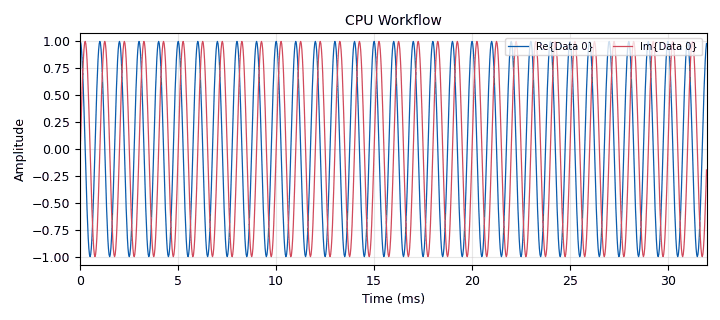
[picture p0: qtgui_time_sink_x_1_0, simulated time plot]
<?xml version='1.0' encoding='utf-8'?>
<?grc format='1' created='3.7.13'?>
<flow_graph>
<block>
<key>options</key>
<param><key>id</key><value>top_block</value></param>
<param><key>generate_options</key><value>qt_gui</value></param>
</block>
<block>
<key>variable</key>
<param><key>id</key><value>samp_rate</value></param>
<param><key>value</key><value>32000</value></param>
</block>
<block>
<key>analog_sig_source_x</key>
<param><key>id</key><value>analog_sig_source_x_0</value></param>
<param><key>amp</key><value>1</value></param>
<param><key>freq</key><value>1000</value></param>
<param><key>offset</key><value>0</value></param>
<param><key>type</key><value>complex</value></param>
<param><key>samp_rate</key><value>samp_rate</value></param>
<param><key>waveform</key><value>analog.GR_COS_WAVE</value></param>
</block>
<block>
<key>analog_sig_source_x</key>
<param><key>id</key><value>analog_sig_source_x_1</value></param>
<param><key>amp</key><value>1</value></param>
<param><key>freq</key><value>1000</value></param>
<param><key>offset</key><value>0</value></param>
<param><key>type</key><value>complex</value></param>
<param><key>samp_rate</key><value>samp_rate</value></param>
<param><key>waveform</key><value>analog.GR_COS_WAVE</value></param>
</block>
<block>
<key>blocks_complex_to_arg</key>
<param><key>id</key><value>blocks_complex_to_arg_0</value></param>
</block>
<block>
<key>blocks_complex_to_arg</key>
<param><key>id</key><value>blocks_complex_to_arg_0_0</value></param>
</block>
<block>
<key>blocks_complex_to_mag</key>
<param><key>id</key><value>blocks_complex_to_mag_0</value></param>
</block>
<block>
<key>blocks_complex_to_mag</key>
<param><key>id</key><value>blocks_complex_to_mag_0_0</value></param>
</block>
<block>
<key>blocks_complex_to_magphase</key>
<param><key>id</key><value>blocks_complex_to_magphase_0</value></param>
</block>
<block>
<key>blocks_complex_to_magphase</key>
<param><key>id</key><value>blocks_complex_to_magphase_0_0</value></param>
</block>
<block>
<key>blocks_ctrlport_monitor_performance</key>
<param><key>id</key><value>blocks_ctrlport_monitor_performance_0</value></param>
<param><key>en</key><value>True</value></param>
</block>
<block>
<key>blocks_magphase_to_complex</key>
<param><key>id</key><value>blocks_magphase_to_complex_0</value></param>
</block>
<block>
<key>blocks_magphase_to_complex</key>
<param><key>id</key><value>blocks_magphase_to_complex_0_0</value></param>
</block>
<block>
<key>blocks_magphase_to_complex</key>
<param><key>id</key><value>blocks_magphase_to_complex_1</value></param>
</block>
<block>
<key>blocks_magphase_to_complex</key>
<param><key>id</key><value>blocks_magphase_to_complex_1_0</value></param>
</block>
<block>
<key>openacc_accComplexToArg</key>
<param><key>id</key><value>openacc_accComplexToArg_0</value></param>
<param><key>contextType</key><value>1</value></param>
<param><key>copy_in</key><value>0</value></param>
<param><key>copy_out</key><value>0</value></param>
<param><key>deviceId</key><value>0</value></param>
<param><key>vlen</key><value>1</value></param>
</block>
<block>
<key>openacc_accComplexToArg</key>
<param><key>id</key><value>openacc_accComplexToArg_0_0</value></param>
<param><key>contextType</key><value>1</value></param>
<param><key>copy_in</key><value>0</value></param>
<param><key>copy_out</key><value>0</value></param>
<param><key>deviceId</key><value>0</value></param>
<param><key>vlen</key><value>1</value></param>
</block>
<block>
<key>openacc_accComplexToMagPhase</key>
<param><key>id</key><value>openacc_accComplexToMagPhase_0</value></param>
<param><key>contextType</key><value>1</value></param>
<param><key>copy_in</key><value>1</value></param>
<param><key>copy_out</key><value>0</value></param>
<param><key>deviceId</key><value>0</value></param>
<param><key>vlen</key><value>1</value></param>
</block>
<block>
<key>openacc_accComplexToMagPhase</key>
<param><key>id</key><value>openacc_accComplexToMagPhase_0_0</value></param>
<param><key>contextType</key><value>1</value></param>
<param><key>copy_in</key><value>0</value></param>
<param><key>copy_out</key><value>0</value></param>
<param><key>deviceId</key><value>0</value></param>
<param><key>vlen</key><value>1</value></param>
</block>
<block>
<key>openacc_accComplexToMag</key>
<param><key>id</key><value>openacc_accComplexToMag_0</value></param>
<param><key>contextType</key><value>1</value></param>
<param><key>copy_in</key><value>0</value></param>
<param><key>copy_out</key><value>0</value></param>
<param><key>deviceId</key><value>0</value></param>
<param><key>vlen</key><value>1</value></param>
</block>
<block>
<key>openacc_accComplexToMag</key>
<param><key>id</key><value>openacc_accComplexToMag_0_0</value></param>
<param><key>contextType</key><value>1</value></param>
<param><key>copy_in</key><value>0</value></param>
<param><key>copy_out</key><value>0</value></param>
<param><key>deviceId</key><value>0</value></param>
<param><key>vlen</key><value>1</value></param>
</block>
<block>
<key>openacc_accMagPhaseToComplex</key>
<param><key>id</key><value>openacc_accMagPhaseToComplex_0</value></param>
<param><key>contextType</key><value>1</value></param>
<param><key>copy_in</key><value>0</value></param>
<param><key>copy_out</key><value>0</value></param>
<param><key>deviceId</key><value>0</value></param>
<param><key>vlen</key><value>1</value></param>
</block>
<block>
<key>openacc_accMagPhaseToComplex</key>
<param><key>id</key><value>openacc_accMagPhaseToComplex_0_0</value></param>
<param><key>contextType</key><value>1</value></param>
<param><key>copy_in</key><value>0</value></param>
<param><key>copy_out</key><value>0</value></param>
<param><key>deviceId</key><value>0</value></param>
<param><key>vlen</key><value>1</value></param>
</block>
<block>
<key>openacc_accMagPhaseToComplex</key>
<param><key>id</key><value>openacc_accMagPhaseToComplex_1</value></param>
<param><key>contextType</key><value>1</value></param>
<param><key>copy_in</key><value>0</value></param>
<param><key>copy_out</key><value>0</value></param>
<param><key>deviceId</key><value>0</value></param>
<param><key>vlen</key><value>1</value></param>
</block>
<block>
<key>openacc_accMagPhaseToComplex</key>
<param><key>id</key><value>openacc_accMagPhaseToComplex_1_0</value></param>
<param><key>contextType</key><value>1</value></param>
<param><key>copy_in</key><value>0</value></param>
<param><key>copy_out</key><value>1</value></param>
<param><key>deviceId</key><value>0</value></param>
<param><key>vlen</key><value>1</value></param>
</block>
<block>
<key>qtgui_time_sink_x</key>
<param><key>id</key><value>qtgui_time_sink_x_0</value></param>
<param><key>color1</key><value>"blue"</value></param>
<param><key>label1</key><value></value></param>
<param><key>color2</key><value>"red"</value></param>
<param><key>label2</key><value></value></param>
<param><key>name</key><value>"OpenACC Workflow"</value></param>
<param><key>size</key><value>1024</value></param>
<param><key>srate</key><value>samp_rate</value></param>
<param><key>type</key><value>complex</value></param>
</block>
<block>
<key>qtgui_time_sink_x</key>
<param><key>id</key><value>qtgui_time_sink_x_1_0</value></param>
<param><key>color1</key><value>"blue"</value></param>
<param><key>label1</key><value></value></param>
<param><key>color2</key><value>"red"</value></param>
<param><key>label2</key><value></value></param>
<param><key>name</key><value>"CPU Workflow"</value></param>
<param><key>size</key><value>1024</value></param>
<param><key>srate</key><value>samp_rate</value></param>
<param><key>type</key><value>complex</value></param>
</block>
<connection><source_block_id>analog_sig_source_x_0</source_block_id><sink_block_id>openacc_accComplexToMagPhase_0</sink_block_id><source_key>0</source_key><sink_key>0</sink_key></connection>
<connection><source_block_id>analog_sig_source_x_1</source_block_id><sink_block_id>blocks_complex_to_magphase_0</sink_block_id><source_key>0</source_key><sink_key>0</sink_key></connection>
<connection><source_block_id>blocks_complex_to_arg_0</source_block_id><sink_block_id>blocks_magphase_to_complex_1</sink_block_id><source_key>0</source_key><sink_key>1</sink_key></connection>
<connection><source_block_id>blocks_complex_to_arg_0_0</source_block_id><sink_block_id>blocks_magphase_to_complex_1_0</sink_block_id><source_key>0</source_key><sink_key>1</sink_key></connection>
<connection><source_block_id>blocks_complex_to_mag_0</source_block_id><sink_block_id>blocks_magphase_to_complex_1</sink_block_id><source_key>0</source_key><sink_key>0</sink_key></connection>
<connection><source_block_id>blocks_complex_to_mag_0_0</source_block_id><sink_block_id>blocks_magphase_to_complex_1_0</sink_block_id><source_key>0</source_key><sink_key>0</sink_key></connection>
<connection><source_block_id>blocks_complex_to_magphase_0</source_block_id><sink_block_id>blocks_magphase_to_complex_0</sink_block_id><source_key>0</source_key><sink_key>0</sink_key></connection>
<connection><source_block_id>blocks_complex_to_magphase_0</source_block_id><sink_block_id>blocks_magphase_to_complex_0</sink_block_id><source_key>1</source_key><sink_key>1</sink_key></connection>
<connection><source_block_id>blocks_complex_to_magphase_0_0</source_block_id><sink_block_id>blocks_magphase_to_complex_0_0</sink_block_id><source_key>0</source_key><sink_key>0</sink_key></connection>
<connection><source_block_id>blocks_complex_to_magphase_0_0</source_block_id><sink_block_id>blocks_magphase_to_complex_0_0</sink_block_id><source_key>1</source_key><sink_key>1</sink_key></connection>
<connection><source_block_id>blocks_magphase_to_complex_0</source_block_id><sink_block_id>blocks_complex_to_arg_0</sink_block_id><source_key>0</source_key><sink_key>0</sink_key></connection>
<connection><source_block_id>blocks_magphase_to_complex_0</source_block_id><sink_block_id>blocks_complex_to_mag_0</sink_block_id><source_key>0</source_key><sink_key>0</sink_key></connection>
<connection><source_block_id>blocks_magphase_to_complex_0_0</source_block_id><sink_block_id>blocks_complex_to_arg_0_0</sink_block_id><source_key>0</source_key><sink_key>0</sink_key></connection>
<connection><source_block_id>blocks_magphase_to_complex_0_0</source_block_id><sink_block_id>blocks_complex_to_mag_0_0</sink_block_id><source_key>0</source_key><sink_key>0</sink_key></connection>
<connection><source_block_id>blocks_magphase_to_complex_1</source_block_id><sink_block_id>blocks_complex_to_magphase_0_0</sink_block_id><source_key>0</source_key><sink_key>0</sink_key></connection>
<connection><source_block_id>blocks_magphase_to_complex_1_0</source_block_id><sink_block_id>qtgui_time_sink_x_1_0</sink_block_id><source_key>0</source_key><sink_key>0</sink_key></connection>
<connection><source_block_id>openacc_accComplexToArg_0</source_block_id><sink_block_id>openacc_accMagPhaseToComplex_1</sink_block_id><source_key>0</source_key><sink_key>1</sink_key></connection>
<connection><source_block_id>openacc_accComplexToArg_0_0</source_block_id><sink_block_id>openacc_accMagPhaseToComplex_1_0</sink_block_id><source_key>0</source_key><sink_key>1</sink_key></connection>
<connection><source_block_id>openacc_accComplexToMagPhase_0</source_block_id><sink_block_id>openacc_accMagPhaseToComplex_0</sink_block_id><source_key>0</source_key><sink_key>0</sink_key></connection>
<connection><source_block_id>openacc_accComplexToMagPhase_0</source_block_id><sink_block_id>openacc_accMagPhaseToComplex_0</sink_block_id><source_key>1</source_key><sink_key>1</sink_key></connection>
<connection><source_block_id>openacc_accComplexToMagPhase_0_0</source_block_id><sink_block_id>openacc_accMagPhaseToComplex_0_0</sink_block_id><source_key>0</source_key><sink_key>0</sink_key></connection>
<connection><source_block_id>openacc_accComplexToMagPhase_0_0</source_block_id><sink_block_id>openacc_accMagPhaseToComplex_0_0</sink_block_id><source_key>1</source_key><sink_key>1</sink_key></connection>
<connection><source_block_id>openacc_accComplexToMag_0</source_block_id><sink_block_id>openacc_accMagPhaseToComplex_1</sink_block_id><source_key>0</source_key><sink_key>0</sink_key></connection>
<connection><source_block_id>openacc_accComplexToMag_0_0</source_block_id><sink_block_id>openacc_accMagPhaseToComplex_1_0</sink_block_id><source_key>0</source_key><sink_key>0</sink_key></connection>
<connection><source_block_id>openacc_accMagPhaseToComplex_0</source_block_id><sink_block_id>openacc_accComplexToArg_0</sink_block_id><source_key>0</source_key><sink_key>0</sink_key></connection>
<connection><source_block_id>openacc_accMagPhaseToComplex_0</source_block_id><sink_block_id>openacc_accComplexToMag_0</sink_block_id><source_key>0</source_key><sink_key>0</sink_key></connection>
<connection><source_block_id>openacc_accMagPhaseToComplex_0_0</source_block_id><sink_block_id>openacc_accComplexToArg_0_0</sink_block_id><source_key>0</source_key><sink_key>0</sink_key></connection>
<connection><source_block_id>openacc_accMagPhaseToComplex_0_0</source_block_id><sink_block_id>openacc_accComplexToMag_0_0</sink_block_id><source_key>0</source_key><sink_key>0</sink_key></connection>
<connection><source_block_id>openacc_accMagPhaseToComplex_1</source_block_id><sink_block_id>openacc_accComplexToMagPhase_0_0</sink_block_id><source_key>0</source_key><sink_key>0</sink_key></connection>
<connection><source_block_id>openacc_accMagPhaseToComplex_1_0</source_block_id><sink_block_id>qtgui_time_sink_x_0</sink_block_id><source_key>0</source_key><sink_key>0</sink_key></connection>
</flow_graph>
